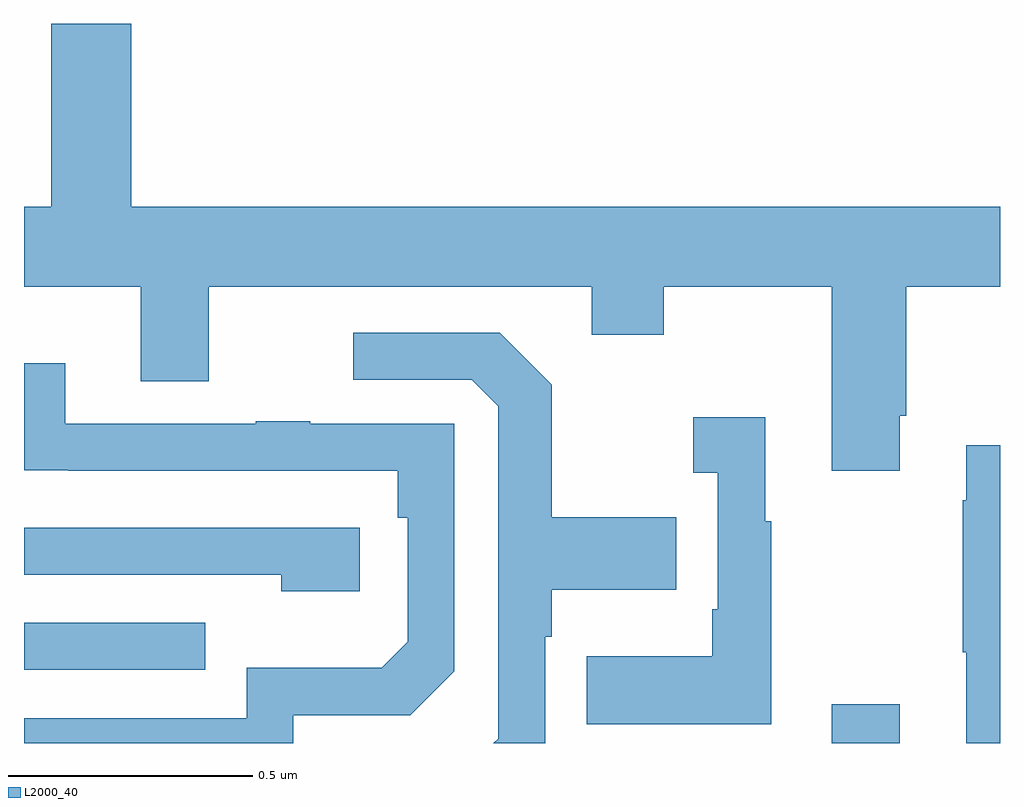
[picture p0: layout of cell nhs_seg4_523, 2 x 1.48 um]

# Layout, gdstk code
import gdstk
lib = gdstk.Library(unit=1e-6, precision=1e-09)
def R(c, l, rs):  # rectangles x0, y0, x1, y1
    for r in rs: c.add(gdstk.rectangle(r[:2], r[2:], *l))
def P(c, l, *ps):  # polygons
    for p in ps: c.add(gdstk.Polygon(p, *l))
L2000_40 = (2000, 40)

nhs_seg4_523 = lib.new_cell('nhs_seg4_523')
R(nhs_seg4_523, L2000_40, [(118.655,779.9,118.795,779.98), (117,780.051,117.371,780.147)])
P(nhs_seg4_523, L2000_40, [(118.795,780.571),(118.808,780.571),(118.808,780.836),(119,780.836),(119,781),(117.22,781),(117.22,781.375),(117.056,781.375),(117.056,781),(117,781),(117,780.836),(117.239,780.836),(117.239,780.642),(117.379,780.642),(117.379,780.836),(118.163,780.836),(118.163,780.737),(118.311,780.737),(118.311,780.836),(118.655,780.836),(118.655,780.459),(118.795,780.459)],
  [(118.068,780.119),(118.081,780.119),(118.081,780.215),(118.337,780.215),(118.337,780.363),(118.081,780.363),(118.081,780.635),(117.975,780.741),(117.675,780.741),(117.675,780.645),(117.918,780.645),(117.972,780.591),(117.972,779.91),(117.962,779.9),(118.068,779.9)],
  [(117.552,779.958),(117.792,779.958),(117.882,780.048),(117.882,780.555),(117.587,780.555),(117.587,780.56),(117.475,780.56),(117.475,780.555),(117.085,780.555),(117.085,780.679),(117,780.679),(117,780.46),(117.091,780.46),(117.091,780.459),(117.766,780.459),(117.766,780.362),(117.786,780.362),(117.786,780.108),(117.733,780.055),(117.456,780.055),(117.456,779.952),(117,779.952),(117,779.9),(117.552,779.9)],
  [(118.531,780.355),(118.519,780.355),(118.519,780.568),(118.371,780.568),(118.371,780.455),(118.422,780.455),(118.422,780.175),(118.41,780.175),(118.41,780.079),(118.153,780.079),(118.153,779.939),(118.531,779.939)],
  [(119,780.511),(118.931,780.511),(118.931,780.398),(118.924,780.398),(118.924,780.087),(118.931,780.087),(118.931,779.9),(119,779.9)],
  [(117.688,780.342),(117,780.342),(117,780.246),(117.527,780.246),(117.527,780.212),(117.688,780.212)])

lib.write_gds('nhs_seg4_523.gds')
